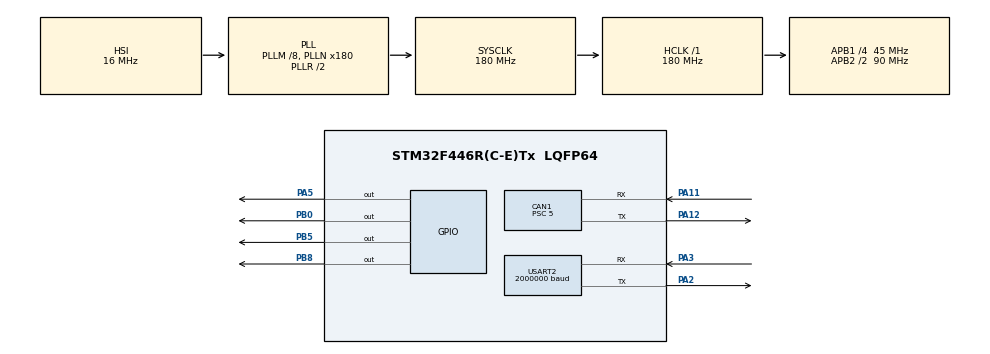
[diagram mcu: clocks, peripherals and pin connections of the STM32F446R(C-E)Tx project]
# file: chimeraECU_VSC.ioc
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CAN1.AWUM=ENABLE
CAN1.BS1=CAN_BS1_7TQ
CAN1.CalculateTimeQuantum=111.11111111111111
CAN1.NART=ENABLE
CAN1.Prescaler=5
Mcu.Family=STM32F4
Mcu.Name=STM32F446R(C-E)Tx
Mcu.Package=LQFP64
NVIC.CAN1_RX0_IRQn=true\:0\:0\:false\:true\:true\:2\:true\:true
NVIC.CAN1_RX1_IRQn=true\:0\:0\:false\:true\:true\:3\:true\:true
NVIC.CAN1_SCE_IRQn=true\:0\:0\:false\:true\:true\:4\:true\:true
NVIC.CAN1_TX_IRQn=true\:0\:0\:false\:true\:true\:1\:true\:true
NVIC.PriorityGroup=NVIC_PRIORITYGROUP_4
NVIC.TIM1_UP_TIM10_IRQn=true\:0\:0\:false\:false\:true\:true\:true
NVIC.TIM6_DAC_IRQn=true\:0\:0\:false\:true\:true\:5\:true\:true
NVIC.TIM7_IRQn=true\:0\:0\:false\:true\:true\:6\:true\:true
PA11.Mode=Master
PA11.Signal=CAN1_RX
PA12.Mode=Master
PA12.Signal=CAN1_TX
PA2.Mode=Asynchronous
PA2.Signal=USART2_TX
PA3.Mode=Asynchronous
PA3.Signal=USART2_RX
PA5.Signal=GPIO_Output
PB0.Signal=GPIO_Output
PB5.Signal=GPIO_Output
PB8.Signal=GPIO_Output
ProjectManager.HeapSize=0x200
ProjectManager.StackSize=0x400
ProjectManager.TargetToolchain=Makefile
RCC.AHBFreq_Value=180000000
RCC.APB1CLKDivider=RCC_HCLK_DIV4
RCC.APB1Freq_Value=45000000
RCC.APB1TimFreq_Value=90000000
RCC.APB2CLKDivider=RCC_HCLK_DIV2
RCC.APB2Freq_Value=90000000
RCC.APB2TimFreq_Value=180000000
RCC.CortexFreq_Value=180000000
RCC.HCLKFreq_Value=180000000
RCC.PLLM=8
RCC.PLLN=180
RCC.SYSCLKFreq_VALUE=180000000
RCC.SYSCLKSource=RCC_SYSCLKSOURCE_PLLRCLK
RCC.USBFreq_Value=180000000
RCC.VCOOutputFreq_Value=360000000
TIM10.Period=49999
TIM10.Prescaler=7199
TIM6.Period=1999
TIM6.Prescaler=719
TIM7.Period=19999
TIM7.Prescaler=7199
USART2.BaudRate=2000000
USART2.VirtualMode=VM_ASYNC
VP_TIM10_VS_ClockSourceINT.Mode=Enable_Timer
VP_TIM6_VS_ClockSourceINT.Mode=Enable_Timer
VP_TIM7_VS_ClockSourceINT.Mode=Enable_Timer
board=custom

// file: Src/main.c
/* USER CODE BEGIN Header */
/**
  ******************************************************************************
  * @file           : main.c
  * @brief          : Main program body
  ******************************************************************************
  * @attention
  *
  * <h2><center>&copy; Copyright (c) 2019 STMicroelectronics.
  * All rights reserved.</center></h2>
  *
  * This software component is licensed by ST under BSD 3-Clause license,
  * the "License"; You may not use this file except in compliance with the
  * License. You may obtain a copy of the License at:
  *                        opensource.org/licenses/BSD-3-Clause
  *
  ******************************************************************************
  */
/* USER CODE END Header */

#include "main.h"

/* USER CODE BEGIN Includes */
#include <string.h>
#include <stdlib.h>
#include <inttypes.h>
#include <math.h>
#include <stdbool.h>

#define LONG_DELTA 3000
#define SHORT_DELTA 850
#define TIMER_PERIOD 5000

#define MSG_LENGHT 8
#define NUM_DATA 100

#define ID_STEERING_WHEEL 160
#define ID_PEDALS 176
#define ID_FRONT 192
#define ID_CENTER 208
#define ID_BMS_HV 170
#define ID_BMS_LV 255
#define ID_ASK_INV_SX 513
#define ID_ASK_INV_DX 514
#define ID_REQ_INV_SX 385
#define ID_REQ_INV_DX 386
#define ID_ECU 85
#define ID_ASK_STATE 16

#define MAX_POWER 8.0
/* USER CODE END Includes */

CAN_HandleTypeDef hcan1;

TIM_HandleTypeDef htim6;
TIM_HandleTypeDef htim7;
TIM_HandleTypeDef htim10;

UART_HandleTypeDef huart2;

/* USER CODE BEGIN PV */
typedef uint8_t errorsInt;

// List of SCS
typedef enum {APPS, BSE, LV, MOT_TEMP_SX, MOT_TEMP_DX, INV_TEMP_SX, INV_TEMP_DX, INV_CUR_SX, INV_CUR_DX, NUM_SCS} scsList;

typedef struct fifoDataType {
	int idsave;
	uint8_t RxData[MSG_LENGHT];
} fifoDataType;

typedef struct state_global_data_t{
	bool tractiveSystem;	// Tractive system on=1/off=0
  bool go;				// run=1/setup=0
  bool breakingPedal;		// breaking pedal down=1/up=0
  bool inverterSx;		// inverter Sx enable=1/disable=0
  bool inverterDx;		// inverter Dx enable=1/disable=0
  bool requestOfShutdown;	// shutdown request done yes=1/no=0
  bool writeInCan;		// write in can=1/wait next timeout=0

  bool steeringPresence;
	bool pedalsPresence;
	bool frontalPresence;
	bool centralPresence;
	bool bmsLvPresence;
	bool bmsHvPresence;
	bool invDxPresence;
	bool invSxPresence;

  errorsInt errors;
  errorsInt warningsB1;

  uint8_t scs[NUM_SCS];

	fifoDataType fifoData[NUM_DATA];

	uint16_t dataCounterUp;
	uint16_t dataCounterDown;

  uint8_t accelerator;	// apps value
  uint16_t motLeftTemp;
  uint16_t motRightTemp;
  uint16_t invLeftTemp;
  uint16_t invRightTemp;
  uint16_t invLeftVol;
  uint16_t invRightVol;
  uint16_t invLeftCur;
  uint16_t invRightCur;
  uint32_t hvVol;
  int16_t hvCur;
  int curRequested;
  int8_t powerRequested;		// % of power requested

  uint32_t steeringTimeStamp;
  uint32_t pedalsTimeStamp;
  uint32_t frontalTimeStamp;
  uint32_t centralTimeStamp;
  uint32_t bmsLvTimeStamp;
  uint32_t bmsHvTimeStamp;
  uint32_t invDxTimeStamp;
  uint32_t invSxTimeStamp;
  uint32_t actualTime;
} state_global_data_t;

// List of states
typedef enum {STATE_INIT, STATE_IDLE, STATE_SETUP, STATE_RUN, NUM_STATES} state_t;

// State function and state transition prototypes
typedef state_t state_func_t(state_global_data_t *data);
typedef void transition_func_t(state_global_data_t *data);

/* ---------------- CAN ------------------ */
CAN_FilterTypeDef sFilter;
CAN_RxHeaderTypeDef RxHeader;
HAL_CAN_StateTypeDef state;

/* USER CODE END PV */

void SystemClock_Config(void);
static void MX_GPIO_Init(void);
static void MX_CAN1_Init(void);
static void MX_TIM6_Init(void);
static void MX_TIM7_Init(void);
static void MX_TIM10_Init(void);
static void MX_USART2_UART_Init(void);
static void MX_NVIC_Init(void);
/* USER CODE BEGIN PFP */
//------------------CAN------------------
int CAN_Send(int id, uint8_t *dataTx, int size);
int CAN_Receive(uint8_t *DataRx, int size);

//-----State functions declarations-----
state_t run_state(state_t cur_state, state_global_data_t *data);
state_func_t* const state_table[NUM_STATES];
transition_func_t* const transition_table[NUM_STATES][NUM_STATES];
state_t do_state_init(state_global_data_t *data);
state_t do_state_idle(state_global_data_t *data);
state_t do_state_setup(state_global_data_t *data);
state_t do_state_run(state_global_data_t *data);

//--Transition functions declarations--
void to_idle(state_global_data_t *data);
void from_idle_to_setup(state_global_data_t *data);
void from_run_to_setup(state_global_data_t *data);
void to_run(state_global_data_t *data);

//---------operative function---------
void initData(state_global_data_t *data);
void canSendMSGInit(uint8_t *CanSendMSG);
void checkTimeStamp(state_global_data_t *data);
void sendErrors(state_global_data_t *data);
void shutdown (state_global_data_t *data);
void shutdownErrors(state_global_data_t *data, int err);
void checkValues (state_global_data_t *data);
void transmission (state_global_data_t *data);
/* USER CODE END PFP */

/* USER CODE BEGIN 0 */
uint8_t canSendMSG[MSG_LENGHT];
state_global_data_t data;
char mander[50];
/* USER CODE END 0 */

int main(void)
{

  /* MCU Configuration--------------------------------------------------------*/

  /* Reset of all peripherals, Initializes the Flash interface and the Systick. */
  HAL_Init();

  /* USER CODE BEGIN Init */
  state_t STATO = STATE_INIT;
  /* USER CODE END Init */

  /* Configure the system clock */
  SystemClock_Config();

  /* Initialize all configured peripherals */
  MX_GPIO_Init();
  MX_CAN1_Init();
  MX_TIM6_Init();
  MX_TIM7_Init();
  MX_TIM10_Init();
  MX_USART2_UART_Init();

  /* Initialize interrupts */
  MX_NVIC_Init();
  /* USER CODE BEGIN 2 */

  sFilter.FilterMode = CAN_FILTERMODE_IDMASK;
  sFilter.FilterIdLow = 0;
  sFilter.FilterIdHigh = 0;
  sFilter.FilterMaskIdHigh = 0;
  sFilter.FilterMaskIdLow = 0;
  sFilter.FilterFIFOAssignment = CAN_FILTER_FIFO0;
  sFilter.FilterBank = 0;
  sFilter.FilterScale  = CAN_FILTERSCALE_16BIT;
  sFilter.FilterActivation = ENABLE;
  HAL_CAN_ConfigFilter(&hcan1, &sFilter);

  //HAL_CAN_Init(&hcan1);
  HAL_CAN_Start(&hcan1);

  //HAL_TIM_Base_Start(&htim6);
  //HAL_TIM_Base_Start(&htim7);
  HAL_TIM_Base_Start_IT(&htim6);
  HAL_TIM_Base_Start_IT(&htim7);
  HAL_TIM_Base_Start(&htim10);

  __HAL_TIM_SetCounter(&htim6, 0);
  __HAL_TIM_SetCounter(&htim7, 0);
  __HAL_TIM_SetCounter(&htim10, 0);

  HAL_CAN_ActivateNotification(&hcan1, CAN1_RX0_IRQn);
  HAL_CAN_ActivateNotification(&hcan1, CAN1_RX1_IRQn);

  /* USER CODE END 2 */

  /* Infinite loop */
  while (1)
  {

  }
}

void SystemClock_Config(void)
{
  RCC_OscInitTypeDef RCC_OscInitStruct = {0};
  RCC_ClkInitTypeDef RCC_ClkInitStruct = {0};

  /** Configure the main internal regulator output voltage
  */
  __HAL_RCC_PWR_CLK_ENABLE();
  __HAL_PWR_VOLTAGESCALING_CONFIG(PWR_REGULATOR_VOLTAGE_SCALE1);
  /** Initializes the CPU, AHB and APB busses clocks
  */
  RCC_OscInitStruct.OscillatorType = RCC_OSCILLATORTYPE_HSI;
  RCC_OscInitStruct.HSIState = RCC_HSI_ON;
  RCC_OscInitStruct.HSICalibrationValue = RCC_HSICALIBRATION_DEFAULT;
  RCC_OscInitStruct.PLL.PLLState = RCC_PLL_ON;
  RCC_OscInitStruct.PLL.PLLSource = RCC_PLLSOURCE_HSI;
  RCC_OscInitStruct.PLL.PLLM = 8;
  RCC_OscInitStruct.PLL.PLLN = 180;
  RCC_OscInitStruct.PLL.PLLP = RCC_PLLP_DIV2;
  RCC_OscInitStruct.PLL.PLLQ = 2;
  RCC_OscInitStruct.PLL.PLLR = 2;
  if (HAL_RCC_OscConfig(&RCC_OscInitStruct) != HAL_OK)
  {
    Error_Handler();
  }
  /** Activate the Over-Drive mode
  */
  if (HAL_PWREx_EnableOverDrive() != HAL_OK)
  {
    Error_Handler();
  }
  /** Initializes the CPU, AHB and APB busses clocks
  */
  RCC_ClkInitStruct.ClockType = RCC_CLOCKTYPE_HCLK|RCC_CLOCKTYPE_SYSCLK
                              |RCC_CLOCKTYPE_PCLK1|RCC_CLOCKTYPE_PCLK2;
  RCC_ClkInitStruct.SYSCLKSource = RCC_SYSCLKSOURCE_PLLRCLK;
  RCC_ClkInitStruct.AHBCLKDivider = RCC_SYSCLK_DIV1;
  RCC_ClkInitStruct.APB1CLKDivider = RCC_HCLK_DIV4;
  RCC_ClkInitStruct.APB2CLKDivider = RCC_HCLK_DIV2;

  if (HAL_RCC_ClockConfig(&RCC_ClkInitStruct, FLASH_LATENCY_5) != HAL_OK)
  {
    Error_Handler();
  }
}

/**
  * @brief NVIC Configuration.
  * @retval None
  */
static void MX_NVIC_Init(void)
{
  /* CAN1_TX_IRQn interrupt configuration */
  HAL_NVIC_SetPriority(CAN1_TX_IRQn, 0, 0);
  HAL_NVIC_EnableIRQ(CAN1_TX_IRQn);
  /* CAN1_RX0_IRQn interrupt configuration */
  HAL_NVIC_SetPriority(CAN1_RX0_IRQn, 0, 0);
  HAL_NVIC_EnableIRQ(CAN1_RX0_IRQn);
  /* CAN1_RX1_IRQn interrupt configuration */
  HAL_NVIC_SetPriority(CAN1_RX1_IRQn, 0, 0);
  HAL_NVIC_EnableIRQ(CAN1_RX1_IRQn);
  /* CAN1_SCE_IRQn interrupt configuration */
  HAL_NVIC_SetPriority(CAN1_SCE_IRQn, 0, 0);
  HAL_NVIC_EnableIRQ(CAN1_SCE_IRQn);
  /* TIM6_DAC_IRQn interrupt configuration */
  HAL_NVIC_SetPriority(TIM6_DAC_IRQn, 0, 0);
  HAL_NVIC_EnableIRQ(TIM6_DAC_IRQn);
  /* TIM7_IRQn interrupt configuration */
  HAL_NVIC_SetPriority(TIM7_IRQn, 0, 0);
  HAL_NVIC_EnableIRQ(TIM7_IRQn);
}

static void MX_CAN1_Init(void)
{

  hcan1.Instance = CAN1;
  hcan1.Init.Prescaler = 5;
  hcan1.Init.Mode = CAN_MODE_NORMAL;
  hcan1.Init.SyncJumpWidth = CAN_SJW_1TQ;
  hcan1.Init.TimeSeg1 = CAN_BS1_7TQ;
  hcan1.Init.TimeSeg2 = CAN_BS2_1TQ;
  hcan1.Init.TimeTriggeredMode = DISABLE;
  hcan1.Init.AutoBusOff = DISABLE;
  hcan1.Init.AutoWakeUp = ENABLE;
  hcan1.Init.AutoRetransmission = ENABLE;
  hcan1.Init.ReceiveFifoLocked = DISABLE;
  hcan1.Init.TransmitFifoPriority = DISABLE;
  if (HAL_CAN_Init(&hcan1) != HAL_OK)
  {
    Error_Handler();
  }

}

static void MX_TIM6_Init(void)
{

  TIM_MasterConfigTypeDef sMasterConfig = {0};

  htim6.Instance = TIM6;
  htim6.Init.Prescaler = 719;
  htim6.Init.CounterMode = TIM_COUNTERMODE_UP;
  htim6.Init.Period = 1999;
  htim6.Init.AutoReloadPreload = TIM_AUTORELOAD_PRELOAD_DISABLE;
  if (HAL_TIM_Base_Init(&htim6) != HAL_OK)
  {
    Error_Handler();
  }
  sMasterConfig.MasterOutputTrigger = TIM_TRGO_RESET;
  sMasterConfig.MasterSlaveMode = TIM_MASTERSLAVEMODE_DISABLE;
  if (HAL_TIMEx_MasterConfigSynchronization(&htim6, &sMasterConfig) != HAL_OK)
  {
    Error_Handler();
  }

}

static void MX_TIM7_Init(void)
{

  TIM_MasterConfigTypeDef sMasterConfig = {0};

  htim7.Instance = TIM7;
  htim7.Init.Prescaler = 7199;
  htim7.Init.CounterMode = TIM_COUNTERMODE_UP;
  htim7.Init.Period = 19999;
  htim7.Init.AutoReloadPreload = TIM_AUTORELOAD_PRELOAD_DISABLE;
  if (HAL_TIM_Base_Init(&htim7) != HAL_OK)
  {
    Error_Handler();
  }
  sMasterConfig.MasterOutputTrigger = TIM_TRGO_RESET;
  sMasterConfig.MasterSlaveMode = TIM_MASTERSLAVEMODE_DISABLE;
  if (HAL_TIMEx_MasterConfigSynchronization(&htim7, &sMasterConfig) != HAL_OK)
  {
    Error_Handler();
  }

}

static void MX_TIM10_Init(void)
{

  htim10.Instance = TIM10;
  htim10.Init.Prescaler = 7199;
  htim10.Init.CounterMode = TIM_COUNTERMODE_UP;
  htim10.Init.Period = 49999;
  htim10.Init.ClockDivision = TIM_CLOCKDIVISION_DIV1;
  htim10.Init.AutoReloadPreload = TIM_AUTORELOAD_PRELOAD_DISABLE;
  if (HAL_TIM_Base_Init(&htim10) != HAL_OK)
  {
    Error_Handler();
  }

}

static void MX_USART2_UART_Init(void)
{

  huart2.Instance = USART2;
  huart2.Init.BaudRate = 2000000;
  huart2.Init.WordLength = UART_WORDLENGTH_8B;
  huart2.Init.StopBits = UART_STOPBITS_1;
  huart2.Init.Parity = UART_PARITY_NONE;
  huart2.Init.Mode = UART_MODE_TX_RX;
  huart2.Init.HwFlowCtl = UART_HWCONTROL_NONE;
  huart2.Init.OverSampling = UART_OVERSAMPLING_16;
  if (HAL_UART_Init(&huart2) != HAL_OK)
  {
    Error_Handler();
  }

}

static void MX_GPIO_Init(void)
{
  GPIO_InitTypeDef GPIO_InitStruct = {0};

  /* GPIO Ports Clock Enable */
  __HAL_RCC_GPIOA_CLK_ENABLE();
  __HAL_RCC_GPIOB_CLK_ENABLE();

  /*Configure GPIO pin Output Level */
  HAL_GPIO_WritePin(GPIOA, GPIO_PIN_5, GPIO_PIN_RESET);

  /*Configure GPIO pin Output Level */
  HAL_GPIO_WritePin(GPIOB, GPIO_PIN_0|GPIO_PIN_5|GPIO_PIN_8, GPIO_PIN_RESET);

  /*Configure GPIO pin : PA5 */
  GPIO_InitStruct.Pin = GPIO_PIN_5;
  GPIO_InitStruct.Mode = GPIO_MODE_OUTPUT_PP;
  GPIO_InitStruct.Pull = GPIO_NOPULL;
  GPIO_InitStruct.Speed = GPIO_SPEED_FREQ_LOW;
  HAL_GPIO_Init(GPIOA, &GPIO_InitStruct);

  /*Configure GPIO pins : PB0 PB5 PB8 */
  GPIO_InitStruct.Pin = GPIO_PIN_0|GPIO_PIN_5|GPIO_PIN_8;
  GPIO_InitStruct.Mode = GPIO_MODE_OUTPUT_PP;
  GPIO_InitStruct.Pull = GPIO_NOPULL;
  GPIO_InitStruct.Speed = GPIO_SPEED_FREQ_LOW;
  HAL_GPIO_Init(GPIOB, &GPIO_InitStruct);

}

void Error_Handler(void)
{
}

/************************ (C) COPYRIGHT STMicroelectronics *****END OF FILE****/
